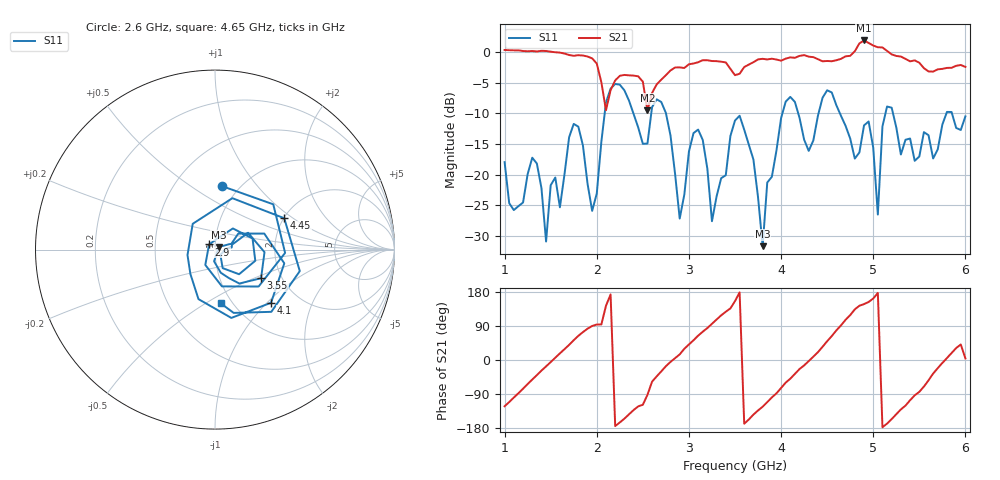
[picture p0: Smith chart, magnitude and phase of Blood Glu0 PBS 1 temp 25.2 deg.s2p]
! NanoVNA-App
! Date: 2024-03-20 19:43:36
! Start: 1GHz Stop: 6GHz Points: 101
! S-Parameter data: F S11 S21 S12 S22
# Hz S RI R 50
!  Frequency  S11_Real  S11_Imag  S21_Real  S21_Imag  S12_Real  S12_Imag  S22_Real  S22_Imag
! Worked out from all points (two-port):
!   101 points, 1 GHz to 6 GHz, reference 50 ohm
!   highest |S21| = 1.88 dB at 4.9 GHz (marker M1); lowest = -9.5 dB at 2.55 GHz (marker M2)
!   |S21| within 3 dB of the highest: start of sweep to 1.954 GHz; 4.65 GHz to 5.349 GHz (699.3 MHz wide, 14 % of centre)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
!   lowest |S11| = -31.7 dB at 3.8 GHz (marker M3), VSWR 1.05, Z = 52.2 + j1.52 ohm
!   |S11| at or under -10 dB: start of sweep to 2.086 GHz; 2.751 GHz to 4.015 GHz (1.264 GHz wide, 37.4 % of centre); 5.214 GHz to 5.794 GHz (580.2 MHz wide, 10.5 % of centre)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
!   S12 and S22 are empty: the file has one direction only
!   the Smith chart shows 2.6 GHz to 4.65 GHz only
!   S11 on the Smith chart (normalised r, x): 2.6 GHz: 0.84, +0.68; 2.9 GHz: 0.93, +0.05; 3.55 GHz: 1.57, -0.55; 4.1 GHz: 1.45, -1.06; 4.45 GHz: 2.01, +0.86; 4.65 GHz: 0.89, -0.58
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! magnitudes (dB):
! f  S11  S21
! 1 GHz  -18.0  0.3
! 1.45 GHz  -30.9  0.2
! 1.85 GHz  -15.3  -0.6
! 1.95 GHz  -25.9  -1.0
! 2.15 GHz  -6.0  -6.2
! 2.55 GHz  -14.9  -9.5
! 2.6 GHz  -9.0  -6.7
! 2.7 GHz  -8.2  -4.5
! 2.9 GHz  -27.2  -2.5
! 3.05 GHz  -13.2  -1.9
! 3.25 GHz  -27.6  -1.5
! 3.5 GHz  -11.2  -3.8
! 3.55 GHz  -10.4  -3.5
! 3.8 GHz  -31.7  -1.1
! 4.1 GHz  -7.3  -0.9
! 4.35 GHz  -14.4  -0.8
! 4.45 GHz  -7.5  -1.5
! 4.65 GHz  -10.4  -1.1
! 4.9 GHz  -12.0  1.9
! 5.05 GHz  -26.5  0.8
! 5.2 GHz  -9.1  -0.4
! 6 GHz  -10.5  -2.4
